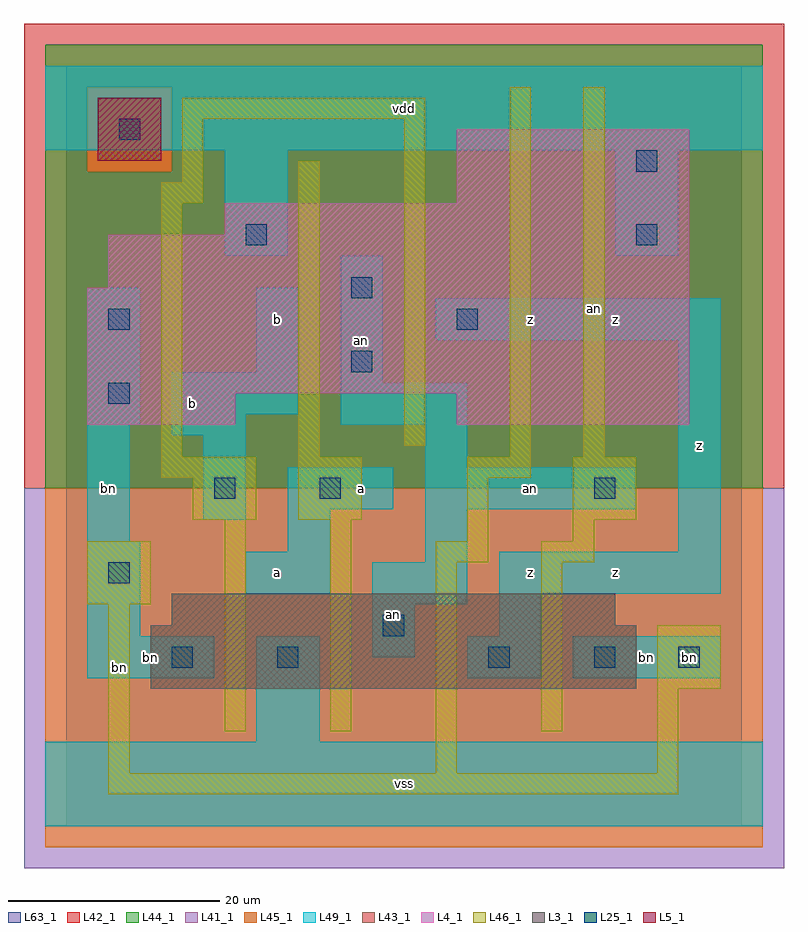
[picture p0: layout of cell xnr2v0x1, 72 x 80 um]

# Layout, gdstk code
import gdstk
lib = gdstk.Library(unit=1e-6, precision=1e-09)
def R(c, l, rs):  # rectangles x0, y0, x1, y1
    for r in rs: c.add(gdstk.rectangle(r[:2], r[2:], *l))
L3_1 = (3, 1)
L4_1 = (4, 1)
L5_1 = (5, 1)
L25_1 = (25, 1)
L41_1 = (41, 1)
L42_1 = (42, 1)
L43_1 = (43, 1)
L44_1 = (44, 1)
L45_1 = (45, 1)
L46_1 = (46, 1)
L49_1 = (49, 1)
L63_1 = (63, 1)

xnr2v0x1 = lib.new_cell('xnr2v0x1')
R(xnr2v0x1, L3_1, [(8,13,54,19), (10,19,52,22)])
R(xnr2v0x1, L4_1, [(2,38,16,41), (37,38,59,41), (2,41,59,51), (4,51,59,56), (15,56,59,59), (37,59,59,66)])
R(xnr2v0x1, L5_1, [(3,63,9,69)])
R(xnr2v0x1, L25_1, [(10,15,12,17), (20,15,22,17), (40,15,42,17), (50,15,52,17), (58,15,60,17), (30,18,32,20), (4,23,6,25), (14,31,16,33), (24,31,26,33), (50,31,52,33), (4,40,6,42), (27,43,29,45), (4,47,6,49), (37,47,39,49), (27,50,29,52), (17,55,19,57), (54,55,56,57), (54,62,56,64), (5,65,7,67)])
R(xnr2v0x1, L41_1, [(-4,-4,68,32)])
R(xnr2v0x1, L42_1, [(-4,32,68,76)])
R(xnr2v0x1, L43_1, [(8,13,54,19), (10,19,52,22), (2,38,16,41), (37,38,59,41), (2,41,59,51), (4,51,59,56), (15,56,59,59), (37,59,59,66), (3,63,9,69)])
R(xnr2v0x1, L44_1, [(-2,32,66,62), (-2,62,2,70), (10,62,66,70), (-2,70,66,74)])
R(xnr2v0x1, L45_1, [(-2,-2,66,32), (2,62,10,70)])
R(xnr2v0x1, L46_1, [(4,3,58,5), (4,5,6,21), (35,5,37,25), (56,5,58,13), (15,9,17,29), (25,9,27,29), (45,9,47,25), (56,13,62,19), (2,21,8,27), (35,25,40,27), (45,25,50,27), (38,27,40,33), (48,27,50,29), (12,29,18,33), (22,29,28,35), (48,29,54,35), (9,33,18,35), (38,33,44,35), (9,35,11,59), (22,35,24,63), (42,35,44,70), (49,35,51,70), (32,36,34,67), (9,59,13,61), (11,61,13,67), (11,67,34,69)])
R(xnr2v0x1, L49_1, [(-2,0,66,8), (18,8,24,18), (2,14,14,18), (38,14,45,18), (48,14,62,18), (29,16,33,21), (2,18,7,27), (41,18,45,22), (29,21,38,25), (17,22,25,26), (41,22,62,26), (34,25,38,30), (21,26,25,30), (58,26,62,46), (2,27,6,38), (13,29,17,37), (21,30,31,34), (34,30,54,34), (34,34,38,38), (10,37,17,39), (2,38,7,51), (26,38,38,42), (10,39,22,43), (26,42,30,54), (18,43,22,51), (35,46,62,50), (15,54,21,64), (52,54,58,64), (-2,64,66,72)])
R(xnr2v0x1, L63_1, [(0,0,64,72)])
xnr2v0x1.add(gdstk.Label('bn', (5,15), layer=46, texttype=1))
xnr2v0x1.add(gdstk.Label('bn', (59,16), layer=49, texttype=1))
xnr2v0x1.add(gdstk.Label('an', (50,49), layer=46, texttype=1))
xnr2v0x1.add(gdstk.Label('bn', (8,16), layer=49, texttype=1))
xnr2v0x1.add(gdstk.Label('b', (12,40), layer=49, texttype=1))
xnr2v0x1.add(gdstk.Label('bn', (4,32), layer=49, texttype=1))
xnr2v0x1.add(gdstk.Label('a', (20,24), layer=49, texttype=1))
xnr2v0x1.add(gdstk.Label('a', (28,32), layer=49, texttype=1))
xnr2v0x1.add(gdstk.Label('an', (28,46), layer=49, texttype=1))
xnr2v0x1.add(gdstk.Label('b', (20,48), layer=49, texttype=1))
xnr2v0x1.add(gdstk.Label('vss', (32,4), layer=49, texttype=1))
xnr2v0x1.add(gdstk.Label('an', (31,20), layer=49, texttype=1))
xnr2v0x1.add(gdstk.Label('z', (44,24), layer=49, texttype=1))
xnr2v0x1.add(gdstk.Label('z', (44,48), layer=49, texttype=1))
xnr2v0x1.add(gdstk.Label('vdd', (32,68), layer=49, texttype=1))
xnr2v0x1.add(gdstk.Label('bn', (55,16), layer=49, texttype=1))
xnr2v0x1.add(gdstk.Label('z', (52,24), layer=49, texttype=1))
xnr2v0x1.add(gdstk.Label('an', (44,32), layer=49, texttype=1))
xnr2v0x1.add(gdstk.Label('z', (60,36), layer=49, texttype=1))
xnr2v0x1.add(gdstk.Label('z', (52,48), layer=49, texttype=1))

lib.write_gds('xnr2v0x1.gds')
